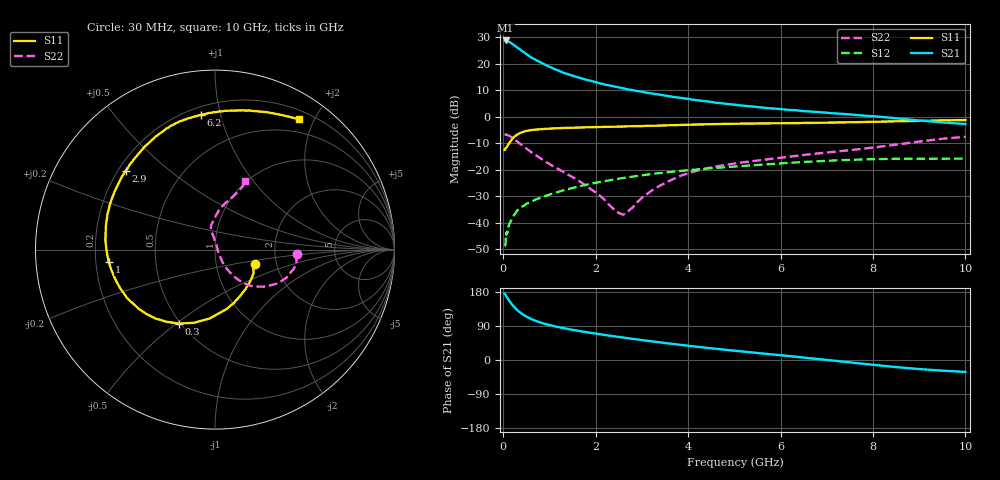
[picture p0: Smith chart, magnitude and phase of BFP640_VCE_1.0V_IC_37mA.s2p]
! (c) 2013  Infineon Technologies AG, Munich
! Infineon Technologies  Discrete & RF Semiconductors
! BFP640
! VCE =  1.0 V,  IC =  37 mA
! Common Emitter S-Parameters:  Apr 2013
# GHz  S  MA  R  50
!  f  S11  S21  S12  S22
! GHz  MAG  ANG  MAG  ANG  MAG  ANG  MAG  ANG
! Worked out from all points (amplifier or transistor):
!   99 points, 30 MHz to 10 GHz, reference 50 ohm
!   highest |S21| = 28.8 dB at 50 MHz (marker M1)
!   |S21| within 3 dB of that: start of sweep to 332.9 MHz
!   unconditionally stable (mu >= 1): start of sweep to 399.5 MHz; 401.6 MHz to end of sweep
!   at 350 MHz: K = 1.02, MAG = 29.4 dB, |S12| = -34.8 dB
!   at 3.5 GHz: K = 1.33, MAG = 11.1 dB, |S12| = -21.1 dB
!   at 10 GHz: K = 1.31, MAG = 3.2 dB, |S12| = -15.8 dB
!   S11 on the Smith chart (normalised r, x): 30 MHz: 1.55, -0.26; 300 MHz: 0.49, -0.51; 1 GHz: 0.25, -0.05; 2.9 GHz: 0.23, +0.36; 6.2 GHz: 0.25, +0.87; 10 GHz: 0.31, +1.79
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0.03  0.2367 -19.6  27.2 175.0  0.0036 27.8  0.4584 -3.4
0.04  0.2382 -25.9  26.94 173.3  0.0037 45.7  0.4592 -5.0
0.05  0.2512 -31.3  27.48 171.8  0.0039 45.4  0.4556 -6.7
0.09  0.2795 -53.0  26.76 163.7  0.0064 46.0  0.4528 -13.1
0.15  0.3366 -78.6  25.15 153.2  0.01 53.1  0.4265 -21.8
0.2  0.3842 -94.2  23.48 145.0  0.0126 59.8  0.3994 -28.0
0.25  0.4246 -106.1  21.94 138.3  0.0145 58.2  0.3681 -32.7
0.3  0.4586 -116.0  20.33 132.2  0.0169 55.5  0.342 -37.2
0.4  0.5082 -131.1  17.47 122.3  0.0199 54.7  0.2944 -43.9
0.45  0.5238 -136.8  16.41 118.2  0.021 54.2  0.2725 -46.7
0.6  0.5589 -151.0  13.27 108.5  0.0247 52.8  0.2162 -52.0
0.8  0.5801 -163.7  10.71 99.2  0.0293 53.2  0.1661 -56.0
1  0.5956 -173.3  8.766 92.3  0.0338 53.2  0.1284 -58.3
1.3  0.6122 175.5  6.773 84.2  0.0407 52.9  0.0908 -59.1
1.7  0.6261 164.2  5.278 75.4  0.0497 51.7  0.0564 -55.1
2.9  0.664 138.6  3.051 54.2  0.0762 44.0  0.0243 67.6
3.4  0.6806 129.6  2.599 46.5  0.0865 39.7  0.0505 91.6
5.1  0.7389 106.3  1.643 23.3  0.1162 25.6  0.1343 99.4
6.2  0.7546 95.8  1.341 10.2  0.1348 16.5  0.1762 90.4
6.7  0.7655 90.5  1.241 3.9  0.1426 11.7  0.1978 87.2
8.5  0.8184 69.3  0.935 -18.7  0.1605 -6.2  0.2969 72.9
10  0.8633 57.3  0.728 -31.5  0.1619 -16.5  0.418 66.1
